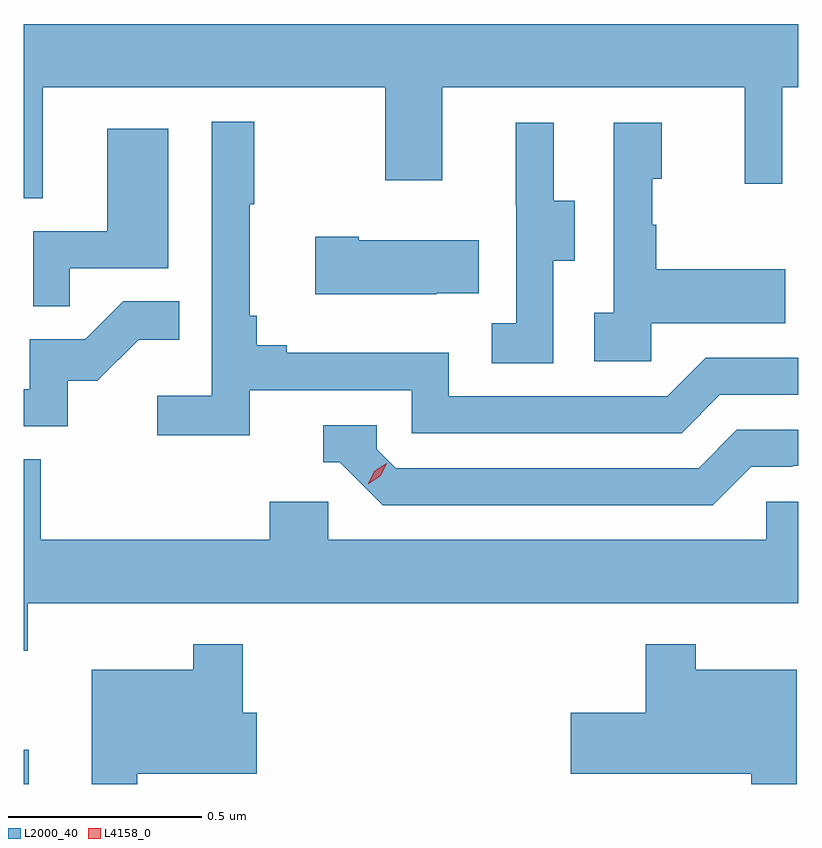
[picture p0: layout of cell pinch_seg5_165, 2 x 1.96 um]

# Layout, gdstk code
import gdstk
lib = gdstk.Library(unit=1e-6, precision=1e-09)
def R(c, l, rs):  # rectangles x0, y0, x1, y1
    for r in rs: c.add(gdstk.rectangle(r[:2], r[2:], *l))
def P(c, l, *ps):  # polygons
    for p in ps: c.add(gdstk.Polygon(p, *l))
L2000_40 = (2000, 40)
L4158_0 = (4158, 0)

pinch_seg5_165 = lib.new_cell('pinch_seg5_165')
R(pinch_seg5_165, L2000_40, [(1083.972,876.273,1083.985,876.361)])
P(pinch_seg5_165, L2000_40, [(1084.021,878.072),(1084.906,878.072),(1084.906,877.833),(1085.053,877.833),(1085.053,878.072),(1085.834,878.072),(1085.834,877.824),(1085.931,877.824),(1085.931,878.072),(1085.972,878.072),(1085.972,878.236),(1083.972,878.236),(1083.972,877.786),(1084.021,877.786)],
  [(1084.556,877.29),(1084.974,877.29),(1084.974,877.179),(1085.671,877.179),(1085.77,877.278),(1085.972,877.278),(1085.972,877.374),(1085.733,877.374),(1085.634,877.275),(1085.07,877.275),(1085.07,877.387),(1084.651,877.387),(1084.651,877.406),(1084.574,877.406),(1084.574,877.483),(1084.555,877.483),(1084.555,877.771),(1084.567,877.771),(1084.567,877.984),(1084.458,877.984),(1084.458,877.276),(1084.317,877.276),(1084.317,877.174),(1084.556,877.174)],
  [(1085.592,877.463),(1085.939,877.463),(1085.939,877.603),(1085.605,877.603),(1085.605,877.718),(1085.595,877.718),(1085.595,877.836),(1085.62,877.836),(1085.62,877.981),(1085.496,877.981),(1085.496,877.49),(1085.445,877.49),(1085.445,877.365),(1085.592,877.365)],
  [(1085.34,877.624),(1085.395,877.624),(1085.395,877.779),(1085.341,877.779),(1085.341,877.981),(1085.243,877.981),(1085.243,877.767),(1085.244,877.767),(1085.244,877.463),(1085.181,877.463),(1085.181,877.36),(1085.34,877.36)],
  [(1084.091,877.605),(1084.345,877.605),(1084.345,877.966),(1084.187,877.966),(1084.187,877.701),(1083.996,877.701),(1083.996,877.507),(1084.091,877.507)],
  [(1085.039,877.541),(1085.147,877.541),(1085.147,877.678),(1084.837,877.678),(1084.837,877.686),(1084.725,877.686),(1084.725,877.538),(1085.039,877.538)],
  [(1084.086,877.314),(1084.162,877.314),(1084.269,877.421),(1084.373,877.421),(1084.373,877.52),(1084.229,877.52),(1084.131,877.422),(1083.987,877.422),(1083.987,877.293),(1083.972,877.293),(1083.972,877.197),(1084.086,877.197)],
  [(1085.851,877.092),(1085.958,877.092),(1085.958,877.095),(1085.972,877.095),(1085.972,877.188),(1085.814,877.188),(1085.715,877.089),(1084.932,877.089),(1084.884,877.137),(1084.884,877.2),(1084.745,877.2),(1084.745,877.104),(1084.788,877.104),(1084.899,876.993),(1085.752,876.993)],
  [(1083.982,876.74),(1085.972,876.74),(1085.972,877.002),(1085.889,877.002),(1085.889,876.904),(1084.758,876.904),(1084.758,877.002),(1084.607,877.002),(1084.607,876.904),(1084.016,876.904),(1084.016,877.112),(1083.972,877.112),(1083.972,876.617),(1083.982,876.617)],
  [(1085.968,876.568),(1085.707,876.568),(1085.707,876.634),(1085.578,876.634),(1085.578,876.457),(1085.385,876.457),(1085.385,876.299),(1085.851,876.299),(1085.851,876.273),(1085.968,876.273)],
  [(1084.265,876.299),(1084.573,876.299),(1084.573,876.457),(1084.538,876.457),(1084.538,876.634),(1084.41,876.634),(1084.41,876.568),(1084.148,876.568),(1084.148,876.273),(1084.265,876.273)])
P(pinch_seg5_165, L4158_0, [(1084.862,877.049),(1084.862,877.05),(1084.879,877.082),(1084.909,877.102),(1084.91,877.102),(1084.91,877.101),(1084.894,877.069),(1084.863,877.049)])

lib.write_gds('pinch_seg5_165.gds')
